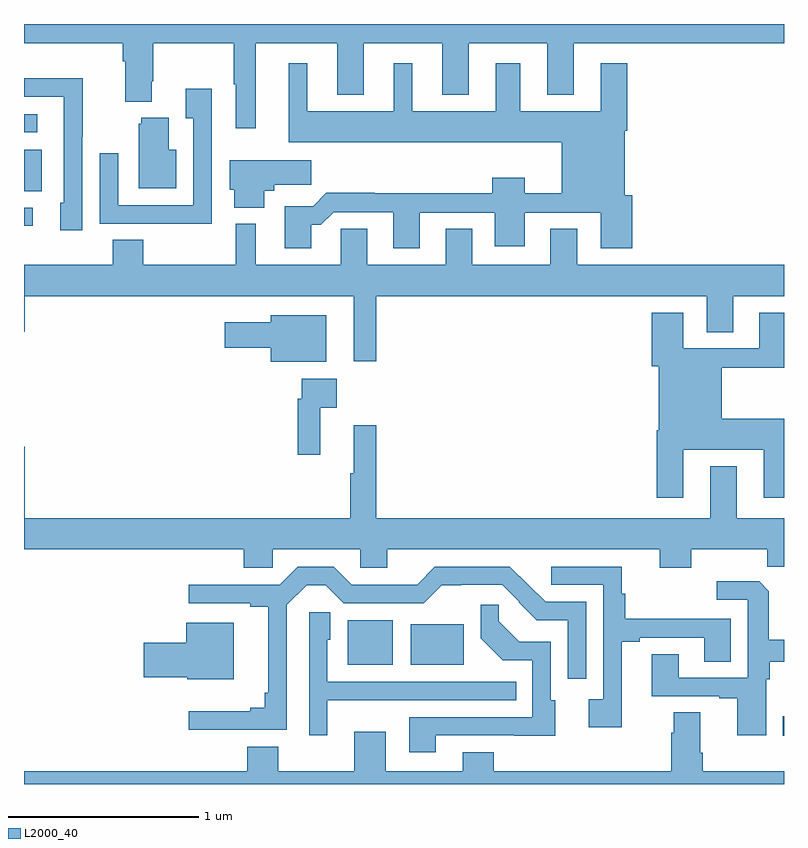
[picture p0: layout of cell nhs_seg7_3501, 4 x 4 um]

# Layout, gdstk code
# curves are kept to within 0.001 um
import gdstk
lib = gdstk.Library(unit=1e-6, precision=1e-09)
def R(c, l, rs):  # rectangles x0, y0, x1, y1
    for r in rs: c.add(gdstk.rectangle(r[:2], r[2:], *l))
def P(c, l, *ps):  # polygons
    for p in ps: c.add(gdstk.Polygon(p, *l))
L2000_40 = (2000, 40)

nhs_seg7_3501 = lib.new_cell('nhs_seg7_3501')
R(nhs_seg7_3501, L2000_40, [(336.993,1046.255,337,1046.357), (334.703,1046.627,334.942,1046.863), (335.036,1046.627,335.314,1046.842), (333,1048.937,333.046,1049.034), (333,1049.119,333.094,1049.338), (333,1049.43,333.07,1049.526)])
P(nhs_seg7_3501, L2000_40, [(335.753,1049.627),(335.893,1049.627),(335.893,1049.9),(337,1049.9),(337,1050),(333,1050),(333,1049.9),(333.521,1049.9),(333.521,1049.804),(333.533,1049.804),(333.533,1049.591),(333.673,1049.591),(333.673,1049.698),(333.681,1049.698),(333.681,1049.9),(334.105,1049.9),(334.105,1049.684),(334.115,1049.684),(334.115,1049.451),(334.219,1049.451),(334.219,1049.9),(334.649,1049.9),(334.649,1049.627),(334.789,1049.627),(334.789,1049.9),(335.201,1049.9),(335.201,1049.627),(335.341,1049.627),(335.341,1049.9),(335.753,1049.9)],
  [(334.513,1048.943),(334.562,1048.943),(334.629,1049.01),(334.943,1049.01),(334.943,1048.821),(335.083,1048.821),(335.083,1049.007),(335.477,1049.007),(335.477,1048.829),(335.635,1048.829),(335.635,1049.007),(336.035,1049.007),(336.035,1048.821),(336.2,1048.821),(336.2,1049.1),(336.163,1049.1),(336.163,1049.438),(336.176,1049.438),(336.176,1049.794),(336.035,1049.794),(336.035,1049.542),(335.611,1049.542),(335.611,1049.794),(335.483,1049.794),(335.483,1049.542),(335.044,1049.542),(335.044,1049.794),(334.946,1049.794),(334.946,1049.542),(334.492,1049.542),(334.492,1049.794),(334.394,1049.794),(334.394,1049.378),(335.831,1049.378),(335.831,1049.108),(335.635,1049.108),(335.635,1049.191),(335.465,1049.191),(335.465,1049.108),(334.847,1049.108),(334.847,1049.111),(334.592,1049.111),(334.522,1049.041),(334.373,1049.041),(334.373,1048.821),(334.513,1048.821)],
  [(333.306,1049.407),(333.309,1049.407),(333.309,1049.714),(333,1049.714),(333,1049.616),(333.21,1049.616),(333.21,1049.058),(333.191,1049.058),(333.191,1048.914),(333.306,1048.914)],
  [(333.987,1049.659),(333.851,1049.659),(333.851,1049.503),(333.891,1049.503),(333.891,1049.046),(333.495,1049.046),(333.495,1049.32),(333.399,1049.32),(333.399,1048.95),(333.715,1048.95),(333.715,1048.949),(333.987,1048.949)],
  [(333.802,1049.338),(333.763,1049.338),(333.763,1049.506),(333.617,1049.506),(333.617,1049.475),(333.605,1049.475),(333.605,1049.135),(333.802,1049.135)],
  [(334.264,1049.123),(334.318,1049.123),(334.318,1049.155),(334.513,1049.155),(334.513,1049.284),(334.082,1049.284),(334.082,1049.127),(334.106,1049.127),(334.106,1049.033),(334.264,1049.033)],
  [(335.911,1048.922),(335.771,1048.922),(335.771,1048.732),(335.359,1048.732),(335.359,1048.922),(335.219,1048.922),(335.219,1048.732),(334.807,1048.732),(334.807,1048.922),(334.668,1048.922),(334.668,1048.732),(334.219,1048.732),(334.219,1048.948),(334.115,1048.948),(334.115,1048.732),(333.627,1048.732),(333.627,1048.865),(333.467,1048.865),(333.467,1048.732),(333,1048.732),(333,1048.38),(333.004,1048.38),(333.004,1048.568),(334.736,1048.568),(334.736,1048.224),(334.853,1048.224),(334.853,1048.568),(336.593,1048.568),(336.593,1048.378),(336.733,1048.378),(336.733,1048.568),(337,1048.568),(337,1048.732),(335.911,1048.732)],
  [(336.469,1047.758),(336.893,1047.758),(336.893,1047.507),(337,1047.507),(337,1047.922),(336.673,1047.922),(336.673,1048.192),(337,1048.192),(337,1048.48),(336.869,1048.48),(336.869,1048.293),(336.469,1048.293),(336.469,1048.48),(336.305,1048.48),(336.305,1048.2),(336.341,1048.2),(336.341,1047.862),(336.329,1047.862),(336.329,1047.507),(336.469,1047.507)],
  [(334.591,1048.468),(334.298,1048.468),(334.298,1048.429),(334.056,1048.429),(334.056,1048.295),(334.298,1048.295),(334.298,1048.223),(334.591,1048.223)],
  [(334.559,1047.98),(334.645,1047.98),(334.645,1048.132),(334.461,1048.132),(334.461,1048.028),(334.441,1048.028),(334.441,1047.732),(334.559,1047.732)],
  [(336.511,1047.236),(336.911,1047.236),(336.911,1047.143),(337,1047.143),(337,1047.4),(336.751,1047.4),(336.751,1047.673),(336.611,1047.673),(336.611,1047.4),(334.853,1047.4),(334.853,1047.889),(334.736,1047.889),(334.736,1047.636),(334.717,1047.636),(334.717,1047.4),(333.004,1047.4),(333.004,1047.775),(333,1047.775),(333,1047.236),(334.157,1047.236),(334.157,1047.138),(334.308,1047.138),(334.308,1047.236),(334.77,1047.236),(334.77,1047.138),(334.912,1047.138),(334.912,1047.236),(336.347,1047.236),(336.347,1047.137),(336.511,1047.137)],
  [(334.079,1046.286),(334.383,1046.286),(334.383,1046.943),(334.487,1047.047),(334.588,1047.047),(334.683,1046.952),(335.103,1046.952),(335.198,1047.047),(335.517,1047.048),(335.607,1046.958),(335.605,1046.956),(335.699,1046.862),(335.862,1046.862),(335.862,1046.555),(335.958,1046.555),(335.958,1046.958),(335.745,1046.958),(335.557,1047.144),(335.163,1047.144),(335.069,1047.05),(334.964,1047.05),(334.964,1047.048),(334.725,1047.048),(334.629,1047.144),(334.442,1047.144),(334.346,1047.048),(334.113,1047.048),(334.113,1047.05),(333.867,1047.05),(333.867,1046.952),(334.19,1046.952),(334.19,1046.932),(334.286,1046.932),(334.286,1046.479),(334.267,1046.479),(334.267,1046.402),(334.19,1046.402),(334.19,1046.383),(333.867,1046.383),(333.867,1046.285)],
  [(336.145,1046.749),(336.241,1046.749),(336.241,1046.769),(336.581,1046.769),(336.581,1046.644),(336.721,1046.644),(336.721,1046.87),(336.164,1046.87),(336.164,1047.002),(336.146,1047.002),(336.146,1047.144),(335.775,1047.144),(335.775,1047.048),(336.048,1047.048),(336.048,1046.446),(335.973,1046.446),(335.973,1046.298),(336.145,1046.298)],
  [(336.906,1046.552),(336.926,1046.552),(336.926,1046.644),(337,1046.644),(337,1046.758),(336.921,1046.758),(336.921,1047.015),(336.869,1047.067),(336.645,1047.067),(336.645,1046.97),(336.81,1046.97),(336.81,1046.559),(336.445,1046.559),(336.445,1046.684),(336.305,1046.684),(336.305,1046.463),(336.659,1046.463),(336.659,1046.451),(336.755,1046.451),(336.755,1046.256),(336.906,1046.256)],
  [(335.167,1046.256),(335.797,1046.255),(335.797,1046.442),(335.772,1046.442),(335.772,1046.748),(335.606,1046.748),(335.498,1046.856),(335.498,1046.944),(335.403,1046.944),(335.403,1046.768),(335.519,1046.652),(335.676,1046.652),(335.676,1046.352),(335.027,1046.352),(335.027,1046.166),(335.167,1046.166)],
  [(334.597,1046.441),(334.931,1046.441),(334.931,1046.442),(335.591,1046.442),(335.591,1046.538),(334.596,1046.538),(334.596,1046.76),(334.612,1046.76),(334.612,1046.903),(334.5,1046.903),(334.5,1046.256),(334.597,1046.256)],
  [(334.105,1046.848),(333.854,1046.848),(333.854,1046.744),(333.63,1046.744),(333.63,1046.561),(333.858,1046.561),(333.858,1046.552),(334.105,1046.552)],
  [(337,1046.068),(336.572,1046.068),(336.572,1046.164),(336.559,1046.164),(336.559,1046.378),(336.419,1046.378),(336.419,1046.27),(336.407,1046.27),(336.407,1046.068),(335.473,1046.068),(335.473,1046.167),(335.309,1046.167),(335.309,1046.068),(334.903,1046.068),(334.903,1046.275),(334.739,1046.275),(334.739,1046.068),(334.339,1046.068),(334.339,1046.197),(334.175,1046.197),(334.175,1046.068),(333,1046.068),(333,1046),(337,1046)])

lib.write_gds('nhs_seg7_3501.gds')
